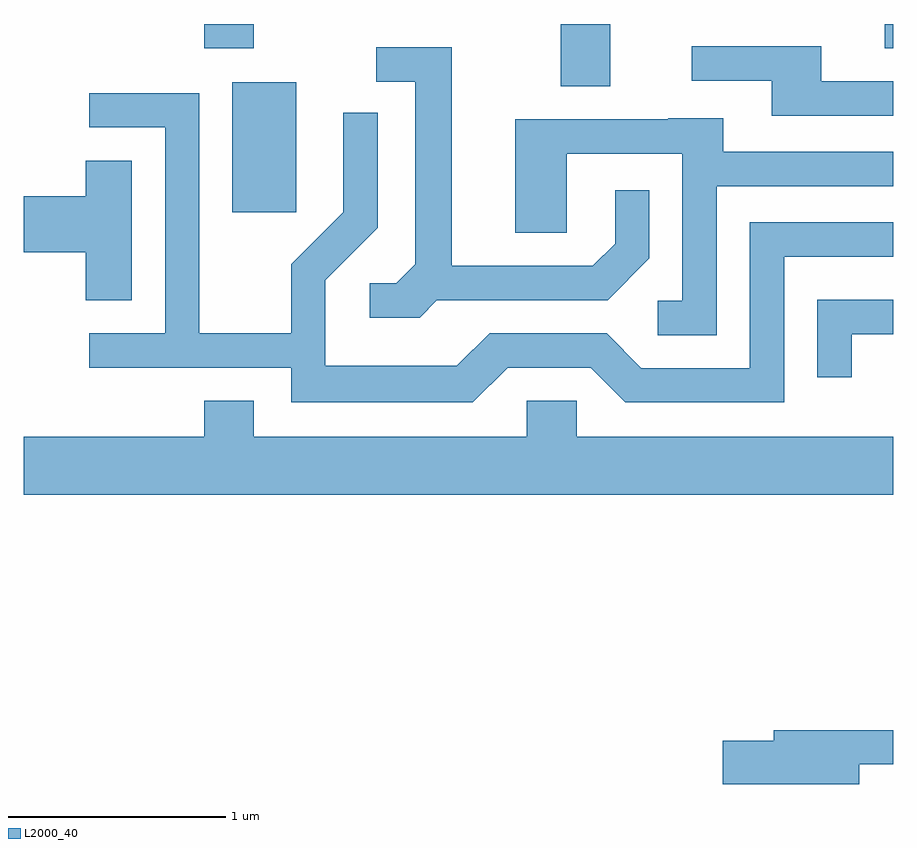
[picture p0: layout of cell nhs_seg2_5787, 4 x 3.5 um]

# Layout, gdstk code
import gdstk
lib = gdstk.Library(unit=1e-6, precision=1e-09)
def R(c, l, rs):  # rectangles x0, y0, x1, y1
    for r in rs: c.add(gdstk.rectangle(r[:2], r[2:], *l))
def P(c, l, *ps):  # polygons
    for p in ps: c.add(gdstk.Polygon(p, *l))
L2000_40 = (2000, 40)

nhs_seg2_5787 = lib.new_cell('nhs_seg2_5787')
R(nhs_seg2_5787, L2000_40, [(356.571,1062.936,356.864,1063.534), (358.081,1063.516,358.309,1063.802), (356.441,1063.691,356.669,1063.802), (359.571,1063.691,359.611,1063.802)])
P(nhs_seg2_5787, L2000_40, [(359.611,1063.539),(359.279,1063.539),(359.279,1063.699),(358.683,1063.699),(358.683,1063.541),(359.051,1063.541),(359.051,1063.381),(359.611,1063.381)],
  [(357.512,1062.531),(358.297,1062.531),(358.489,1062.724),(358.489,1063.038),(358.331,1063.038),(358.331,1062.792),(358.229,1062.689),(357.579,1062.689),(357.579,1063.694),(357.233,1063.694),(357.233,1063.536),(357.411,1063.536),(357.411,1062.697),(357.324,1062.609),(357.203,1062.609),(357.203,1062.451),(357.432,1062.451)],
  [(357.837,1062.221),(358.219,1062.221),(358.379,1062.061),(359.109,1062.061),(359.109,1062.731),(359.611,1062.731),(359.611,1062.889),(358.951,1062.889),(358.951,1062.219),(358.452,1062.219),(358.292,1062.379),(357.754,1062.379),(357.604,1062.229),(356.999,1062.229),(356.999,1062.624),(357.239,1062.864),(357.239,1063.393),(357.081,1063.393),(357.081,1062.937),(356.841,1062.697),(356.841,1062.379),(356.419,1062.379),(356.419,1063.484),(355.913,1063.484),(355.913,1063.326),(356.261,1063.326),(356.261,1062.379),(355.913,1062.379),(355.913,1062.221),(356.841,1062.221),(356.841,1062.061),(357.677,1062.061)],
  [(358.799,1063.056),(359.611,1063.056),(359.611,1063.214),(358.829,1063.214),(358.829,1063.369),(358.575,1063.369),(358.575,1063.364),(357.871,1063.364),(357.871,1062.841),(358.109,1062.841),(358.109,1063.206),(358.641,1063.206),(358.641,1062.529),(358.528,1062.529),(358.528,1062.371),(358.799,1062.371)],
  [(356.109,1063.174),(355.896,1063.174),(355.896,1063.009),(355.611,1063.009),(355.611,1062.751),(355.896,1062.751),(355.896,1062.531),(356.109,1062.531)],
  [(359.419,1062.376),(359.611,1062.376),(359.611,1062.534),(359.261,1062.534),(359.261,1062.178),(359.419,1062.178)],
  [(359.611,1061.904),(358.154,1061.904),(358.154,1062.069),(357.926,1062.069),(357.926,1061.904),(356.669,1061.904),(356.669,1062.069),(356.441,1062.069),(356.441,1061.904),(355.611,1061.904),(355.611,1061.636),(359.611,1061.636)],
  [(359.454,1060.396),(359.611,1060.396),(359.611,1060.554),(359.061,1060.554),(359.061,1060.504),(358.826,1060.504),(358.826,1060.306),(359.454,1060.306)])

lib.write_gds('nhs_seg2_5787.gds')
